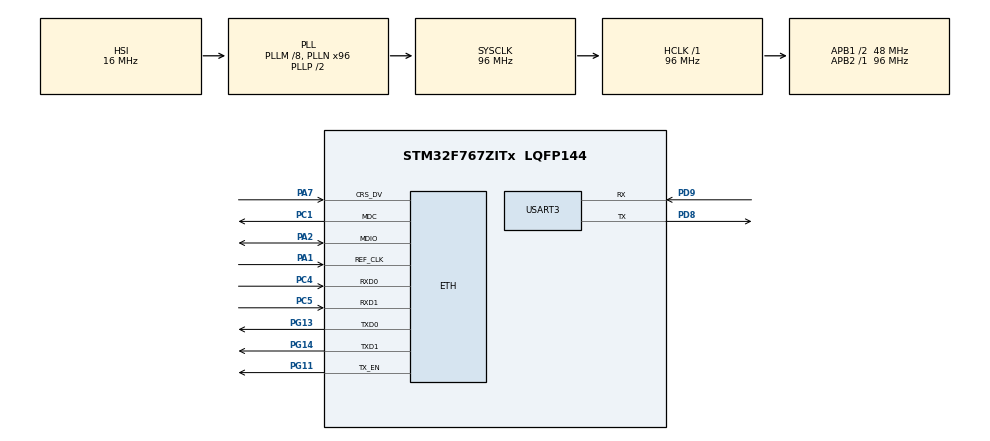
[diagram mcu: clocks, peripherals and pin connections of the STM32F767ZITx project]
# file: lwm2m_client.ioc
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CORTEX_M7.CPU_DCache=Enabled
CORTEX_M7.CPU_ICache=Enabled
CORTEX_M7.PREFETCH_ENABLE=1
ETH.MediaInterface=ETH_MEDIA_INTERFACE_RMII
ETH.RxMode=ETH_RXINTERRUPT_MODE
LPTIM1.ClockPrescaler=LPTIM_PRESCALER_DIV1
Mcu.Family=STM32F7
Mcu.Name=STM32F767ZITx
Mcu.Package=LQFP144
NVIC.ETH_IRQn=true\:0\:0\:false\:false\:true\:true\:true
NVIC.LPTIM1_IRQn=true\:0\:0\:false\:false\:true\:true\:true
NVIC.PriorityGroup=NVIC_PRIORITYGROUP_4
NVIC.USART3_IRQn=true\:0\:0\:false\:false\:true\:true\:true
PA1.Mode=RMII
PA1.Signal=ETH_REF_CLK
PA2.Mode=RMII
PA2.Signal=ETH_MDIO
PA7.Mode=RMII
PA7.Signal=ETH_CRS_DV
PC1.Mode=RMII
PC1.Signal=ETH_MDC
PC14/OSC32_IN.Mode=LSE-External-Oscillator
PC14/OSC32_IN.Signal=RCC_OSC32_IN
PC15/OSC32_OUT.Mode=LSE-External-Oscillator
PC15/OSC32_OUT.Signal=RCC_OSC32_OUT
PC4.Mode=RMII
PC4.Signal=ETH_RXD0
PC5.Mode=RMII
PC5.Signal=ETH_RXD1
PD8.Mode=Asynchronous
PD8.Signal=USART3_TX
PD9.Mode=Asynchronous
PD9.Signal=USART3_RX
PG11.Mode=RMII
PG11.Signal=ETH_TX_EN
PG13.Mode=RMII
PG13.Signal=ETH_TXD0
PG14.Mode=RMII
PG14.Signal=ETH_TXD1
ProjectManager.HeapSize=0x200
ProjectManager.StackSize=0x400
ProjectManager.TargetToolchain=STM32CubeIDE
RCC.AHBFreq_Value=96000000
RCC.APB1CLKDivider=RCC_HCLK_DIV2
RCC.APB1Freq_Value=48000000
RCC.APB1TimFreq_Value=96000000
RCC.APB2Freq_Value=96000000
RCC.APB2TimFreq_Value=96000000
RCC.CortexFreq_Value=96000000
RCC.HCLKFreq_Value=96000000
RCC.HSE_VALUE=25000000
RCC.HSI_VALUE=16000000
RCC.LPTIM1CLockSelection=RCC_LPTIM1CLKSOURCE_LSI
RCC.PLLM=8
RCC.PLLN=96
RCC.PLLQ=4
RCC.RTCClockSelection=RCC_RTCCLKSOURCE_LSE
RCC.SYSCLKFreq_VALUE=96000000
RCC.SYSCLKSource=RCC_SYSCLKSOURCE_PLLCLK
RCC.USBFreq_Value=48000000
RCC.VCOOutputFreq_Value=192000000
USART3.VirtualMode-Asynchronous=VM_ASYNC
VP_LPTIM1_VS_LPTIM_counterModeInternalClock.Mode=Counts__internal_clock_event_00
VP_RNG_VS_RNG.Mode=RNG_Activate
VP_RTC_VS_RTC_Activate.Mode=RTC_Enabled
board=custom

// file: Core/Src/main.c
/* USER CODE BEGIN Header */
/**
  ******************************************************************************
  * @file           : main.c
  * @brief          : Main program body
  ******************************************************************************
  * @attention
  *
  * <h2><center>&copy; Copyright (c) 2021 STMicroelectronics.
  * All rights reserved.</center></h2>
  *
  * This software component is licensed by ST under BSD 3-Clause license,
  * the "License"; You may not use this file except in compliance with the
  * License. You may obtain a copy of the License at:
  *                        opensource.org/licenses/BSD-3-Clause
  *
  ******************************************************************************
  */
/* USER CODE END Header */
#include "main.h"

/* USER CODE BEGIN Includes */
#include <stdio.h>
#include <errno.h>
#include <sys/unistd.h> // STDOUT_FILENO, STDERR_FILENO

#include "FreeRTOS.h"
#include "task.h"
/* USER CODE END Includes */

ETH_HandleTypeDef heth;

LPTIM_HandleTypeDef hlptim1;

RNG_HandleTypeDef hrng;

RTC_HandleTypeDef hrtc;

UART_HandleTypeDef huart3;

void SystemClock_Config(void);
static void MX_GPIO_Init(void);
static void MX_ETH_Init(void);
static void MX_LPTIM1_Init(void);
static void MX_RNG_Init(void);
static void MX_RTC_Init(void);
static void MX_USART3_UART_Init(void);

/* USER CODE BEGIN 0 */
int _write(int file, char *ptr, int len)
{
   if ((file != STDOUT_FILENO) && (file != STDERR_FILENO))
   {
      errno = EBADF;
      return -1;
   }

   HAL_StatusTypeDef status = HAL_UART_Transmit(&huart3, (uint8_t*)ptr, len,100);

   // return # of bytes written - as best we can tell
   return (status == HAL_OK ? len : 0);
}

void Task1(void * pvParameter)
{
  /* USER CODE BEGIN 5 */
	printf("task1 started\r\n");

  /* Infinite loop */
  for(;;)
  {
	  vTaskDelay(500/portTICK_PERIOD_MS);
	  printf("task1 print\r\n");
  }
  /* USER CODE END 5 */
}
void Task2(void * pvParameter)
{
  /* USER CODE BEGIN 5 */
	printf("task2 started\r\n");

  /* Infinite loop */
  for(;;)
  {
	  vTaskDelay(1000/portTICK_PERIOD_MS);
	  printf("task2 print\r\n");
  }
  /* USER CODE END 5 */
}
/* USER CODE END 0 */

int main(void)
{

  /* Enable I-Cache---------------------------------------------------------*/
  SCB_EnableICache();

  /* Enable D-Cache---------------------------------------------------------*/
  SCB_EnableDCache();

  /* MCU Configuration--------------------------------------------------------*/

  /* Reset of all peripherals, Initializes the Flash interface and the Systick. */
  HAL_Init();

  /* Configure the system clock */
  SystemClock_Config();

  /* Initialize all configured peripherals */
  MX_GPIO_Init();
  MX_ETH_Init();
  MX_LPTIM1_Init();
  MX_RNG_Init();
  MX_RTC_Init();
  MX_USART3_UART_Init();
  /* USER CODE BEGIN 2 */

  printf("LwM2M Client !!\r\n");
  HAL_LPTIM_Counter_Start_IT(&hlptim1,32);

  xTaskCreate (Task1, "TASK1", configMINIMAL_STACK_SIZE, NULL, 5, NULL);
  xTaskCreate (Task2, "TASK2", configMINIMAL_STACK_SIZE, NULL, 4, NULL);
  vTaskStartScheduler();
  /* USER CODE END 2 */

  /* Infinite loop */
  while (1)
  {

  }
}

void SystemClock_Config(void)
{
  RCC_OscInitTypeDef RCC_OscInitStruct = {0};
  RCC_ClkInitTypeDef RCC_ClkInitStruct = {0};
  RCC_PeriphCLKInitTypeDef PeriphClkInitStruct = {0};

  /** Configure LSE Drive Capability
  */
  HAL_PWR_EnableBkUpAccess();
  __HAL_RCC_LSEDRIVE_CONFIG(RCC_LSEDRIVE_LOW);
  /** Configure the main internal regulator output voltage
  */
  __HAL_RCC_PWR_CLK_ENABLE();
  __HAL_PWR_VOLTAGESCALING_CONFIG(PWR_REGULATOR_VOLTAGE_SCALE3);
  /** Initializes the RCC Oscillators according to the specified parameters
  * in the RCC_OscInitTypeDef structure.
  */
  RCC_OscInitStruct.OscillatorType = RCC_OSCILLATORTYPE_HSI|RCC_OSCILLATORTYPE_LSI
                              |RCC_OSCILLATORTYPE_LSE;
  RCC_OscInitStruct.LSEState = RCC_LSE_ON;
  RCC_OscInitStruct.HSIState = RCC_HSI_ON;
  RCC_OscInitStruct.HSICalibrationValue = RCC_HSICALIBRATION_DEFAULT;
  RCC_OscInitStruct.LSIState = RCC_LSI_ON;
  RCC_OscInitStruct.PLL.PLLState = RCC_PLL_ON;
  RCC_OscInitStruct.PLL.PLLSource = RCC_PLLSOURCE_HSI;
  RCC_OscInitStruct.PLL.PLLM = 8;
  RCC_OscInitStruct.PLL.PLLN = 96;
  RCC_OscInitStruct.PLL.PLLP = RCC_PLLP_DIV2;
  RCC_OscInitStruct.PLL.PLLQ = 4;
  if (HAL_RCC_OscConfig(&RCC_OscInitStruct) != HAL_OK)
  {
    Error_Handler();
  }
  /** Activate the Over-Drive mode
  */
  if (HAL_PWREx_EnableOverDrive() != HAL_OK)
  {
    Error_Handler();
  }
  /** Initializes the CPU, AHB and APB buses clocks
  */
  RCC_ClkInitStruct.ClockType = RCC_CLOCKTYPE_HCLK|RCC_CLOCKTYPE_SYSCLK
                              |RCC_CLOCKTYPE_PCLK1|RCC_CLOCKTYPE_PCLK2;
  RCC_ClkInitStruct.SYSCLKSource = RCC_SYSCLKSOURCE_PLLCLK;
  RCC_ClkInitStruct.AHBCLKDivider = RCC_SYSCLK_DIV1;
  RCC_ClkInitStruct.APB1CLKDivider = RCC_HCLK_DIV2;
  RCC_ClkInitStruct.APB2CLKDivider = RCC_HCLK_DIV1;

  if (HAL_RCC_ClockConfig(&RCC_ClkInitStruct, FLASH_LATENCY_3) != HAL_OK)
  {
    Error_Handler();
  }
  PeriphClkInitStruct.PeriphClockSelection = RCC_PERIPHCLK_RTC|RCC_PERIPHCLK_USART3
                              |RCC_PERIPHCLK_LPTIM1|RCC_PERIPHCLK_CLK48;
  PeriphClkInitStruct.RTCClockSelection = RCC_RTCCLKSOURCE_LSE;
  PeriphClkInitStruct.Usart3ClockSelection = RCC_USART3CLKSOURCE_PCLK1;
  PeriphClkInitStruct.Lptim1ClockSelection = RCC_LPTIM1CLKSOURCE_LSI;
  PeriphClkInitStruct.Clk48ClockSelection = RCC_CLK48SOURCE_PLL;
  if (HAL_RCCEx_PeriphCLKConfig(&PeriphClkInitStruct) != HAL_OK)
  {
    Error_Handler();
  }
}

static void MX_ETH_Init(void)
{

  heth.Instance = ETH;
  heth.Init.AutoNegotiation = ETH_AUTONEGOTIATION_ENABLE;
  heth.Init.Speed = ETH_SPEED_100M;
  heth.Init.DuplexMode = ETH_MODE_FULLDUPLEX;
  heth.Init.PhyAddress = LAN8742A_PHY_ADDRESS;
  heth.Init.MACAddr[0] =   0x00;
  heth.Init.MACAddr[1] =   0x80;
  heth.Init.MACAddr[2] =   0xE1;
  heth.Init.MACAddr[3] =   0x00;
  heth.Init.MACAddr[4] =   0x00;
  heth.Init.MACAddr[5] =   0x00;
  heth.Init.RxMode = ETH_RXINTERRUPT_MODE;
  heth.Init.ChecksumMode = ETH_CHECKSUM_BY_HARDWARE;
  heth.Init.MediaInterface = ETH_MEDIA_INTERFACE_RMII;

  if (HAL_ETH_Init(&heth) != HAL_OK)
  {
    Error_Handler();
  }

}

static void MX_LPTIM1_Init(void)
{

  hlptim1.Instance = LPTIM1;
  hlptim1.Init.Clock.Source = LPTIM_CLOCKSOURCE_APBCLOCK_LPOSC;
  hlptim1.Init.Clock.Prescaler = LPTIM_PRESCALER_DIV1;
  hlptim1.Init.Trigger.Source = LPTIM_TRIGSOURCE_SOFTWARE;
  hlptim1.Init.OutputPolarity = LPTIM_OUTPUTPOLARITY_HIGH;
  hlptim1.Init.UpdateMode = LPTIM_UPDATE_IMMEDIATE;
  hlptim1.Init.CounterSource = LPTIM_COUNTERSOURCE_INTERNAL;
  if (HAL_LPTIM_Init(&hlptim1) != HAL_OK)
  {
    Error_Handler();
  }

}

static void MX_RNG_Init(void)
{

  hrng.Instance = RNG;
  if (HAL_RNG_Init(&hrng) != HAL_OK)
  {
    Error_Handler();
  }

}

static void MX_RTC_Init(void)
{

  /** Initialize RTC Only
  */
  hrtc.Instance = RTC;
  hrtc.Init.HourFormat = RTC_HOURFORMAT_24;
  hrtc.Init.AsynchPrediv = 127;
  hrtc.Init.SynchPrediv = 255;
  hrtc.Init.OutPut = RTC_OUTPUT_DISABLE;
  hrtc.Init.OutPutPolarity = RTC_OUTPUT_POLARITY_HIGH;
  hrtc.Init.OutPutType = RTC_OUTPUT_TYPE_OPENDRAIN;
  if (HAL_RTC_Init(&hrtc) != HAL_OK)
  {
    Error_Handler();
  }

}

static void MX_USART3_UART_Init(void)
{

  huart3.Instance = USART3;
  huart3.Init.BaudRate = 115200;
  huart3.Init.WordLength = UART_WORDLENGTH_8B;
  huart3.Init.StopBits = UART_STOPBITS_1;
  huart3.Init.Parity = UART_PARITY_NONE;
  huart3.Init.Mode = UART_MODE_TX_RX;
  huart3.Init.HwFlowCtl = UART_HWCONTROL_NONE;
  huart3.Init.OverSampling = UART_OVERSAMPLING_16;
  huart3.Init.OneBitSampling = UART_ONE_BIT_SAMPLE_DISABLE;
  huart3.AdvancedInit.AdvFeatureInit = UART_ADVFEATURE_NO_INIT;
  if (HAL_UART_Init(&huart3) != HAL_OK)
  {
    Error_Handler();
  }

}

static void MX_GPIO_Init(void)
{

  /* GPIO Ports Clock Enable */
  __HAL_RCC_GPIOC_CLK_ENABLE();
  __HAL_RCC_GPIOA_CLK_ENABLE();
  __HAL_RCC_GPIOD_CLK_ENABLE();
  __HAL_RCC_GPIOG_CLK_ENABLE();

}

void Error_Handler(void)
{
  __disable_irq();
  while (1)
  {
  }
}

/************************ (C) COPYRIGHT STMicroelectronics *****END OF FILE****/
